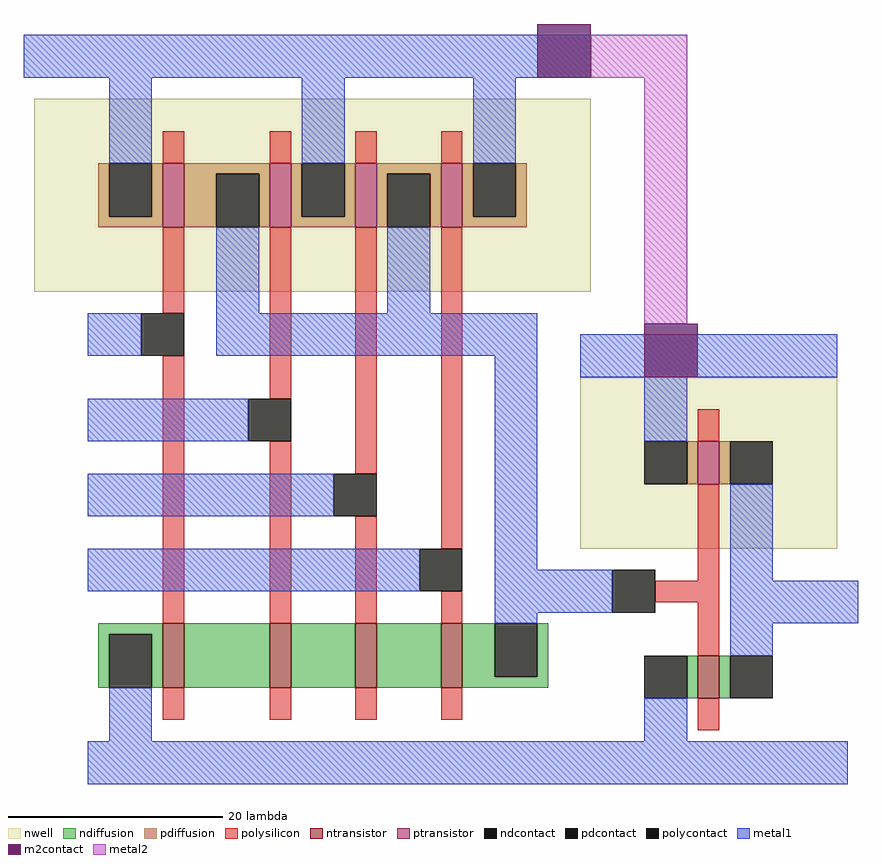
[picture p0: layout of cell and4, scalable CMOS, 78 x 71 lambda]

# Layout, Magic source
magic
tech scmos
<< metal1 >>
rect -6 62 -5 66
rect 0 36 1 40
rect 0 28 1 32
rect 0 21 1 25
rect 0 14 1 18
rect 38 12 48 16
rect 71 11 72 15
rect 0 -4 1 0
rect 39 -4 46 0
<< m2contact >>
rect 42 62 47 67
rect 52 34 57 39
<< metal2 >>
rect 47 62 56 66
rect 52 39 56 62
use inverter  inverter_0
transform 1 0 78 0 1 30
box -32 -34 -7 8
use nand4  nand4_0
transform 1 0 -5 0 1 42
box 0 -46 52 24
<< end >>

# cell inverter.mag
magic
tech scmos
<< nwell >>
rect -32 -12 -8 4
<< ntransistor >>
rect -21 -26 -19 -22
<< ptransistor >>
rect -21 -6 -19 -2
<< ndiffusion >>
rect -22 -26 -21 -22
rect -19 -26 -18 -22
<< pdiffusion >>
rect -22 -6 -21 -2
rect -19 -6 -18 -2
<< ndcontact >>
rect -26 -26 -22 -22
rect -18 -26 -14 -22
<< pdcontact >>
rect -26 -6 -22 -2
rect -18 -6 -14 -2
<< polysilicon >>
rect -21 -2 -19 1
rect -21 -15 -19 -6
rect -25 -17 -19 -15
rect -21 -22 -19 -17
rect -21 -29 -19 -26
<< polycontact >>
rect -29 -18 -25 -14
<< metal1 >>
rect -32 4 -8 8
rect -26 -2 -22 4
rect -32 -18 -29 -14
rect -18 -15 -14 -6
rect -18 -19 -7 -15
rect -18 -22 -14 -19
rect -26 -30 -22 -26
rect -32 -34 -7 -30
<< end >>

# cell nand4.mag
magic
tech scmos
<< nwell >>
rect 0 0 52 18
<< ntransistor >>
rect 12 -37 14 -31
rect 22 -37 24 -31
rect 30 -37 32 -31
rect 38 -37 40 -31
<< ptransistor >>
rect 12 6 14 12
rect 22 6 24 12
rect 30 6 32 12
rect 38 6 40 12
<< ndiffusion >>
rect 6 -32 12 -31
rect 6 -37 7 -32
rect 11 -37 12 -32
rect 14 -37 22 -31
rect 24 -37 30 -31
rect 32 -37 38 -31
rect 40 -36 43 -31
rect 47 -36 48 -31
rect 40 -37 48 -36
<< pdiffusion >>
rect 6 7 7 12
rect 11 7 12 12
rect 6 6 12 7
rect 14 11 22 12
rect 14 6 17 11
rect 21 6 22 11
rect 24 7 25 12
rect 29 7 30 12
rect 24 6 30 7
rect 32 11 38 12
rect 32 6 33 11
rect 37 6 38 11
rect 40 7 41 12
rect 45 7 46 12
rect 40 6 46 7
<< ndcontact >>
rect 7 -37 11 -32
rect 43 -36 47 -31
<< pdcontact >>
rect 7 7 11 12
rect 17 6 21 11
rect 25 7 29 12
rect 33 6 37 11
rect 41 7 45 12
<< polysilicon >>
rect 12 12 14 15
rect 22 12 24 15
rect 30 12 32 15
rect 38 12 40 15
rect 12 -2 14 6
rect 12 -31 14 -6
rect 22 -10 24 6
rect 22 -31 24 -14
rect 30 -17 32 6
rect 30 -31 32 -21
rect 38 -24 40 6
rect 38 -31 40 -28
rect 12 -40 14 -37
rect 22 -40 24 -37
rect 30 -40 32 -37
rect 38 -40 40 -37
<< polycontact >>
rect 10 -6 14 -2
rect 20 -14 24 -10
rect 28 -21 32 -17
rect 36 -28 40 -24
<< metal1 >>
rect 0 20 52 24
rect 7 12 11 20
rect 25 12 29 20
rect 41 12 45 20
rect 17 -2 21 6
rect 33 -2 37 6
rect 6 -6 10 -2
rect 17 -6 47 -2
rect 6 -14 20 -10
rect 6 -21 28 -17
rect 6 -28 36 -24
rect 43 -31 47 -6
rect 7 -42 11 -37
rect 6 -46 48 -42
<< end >>
